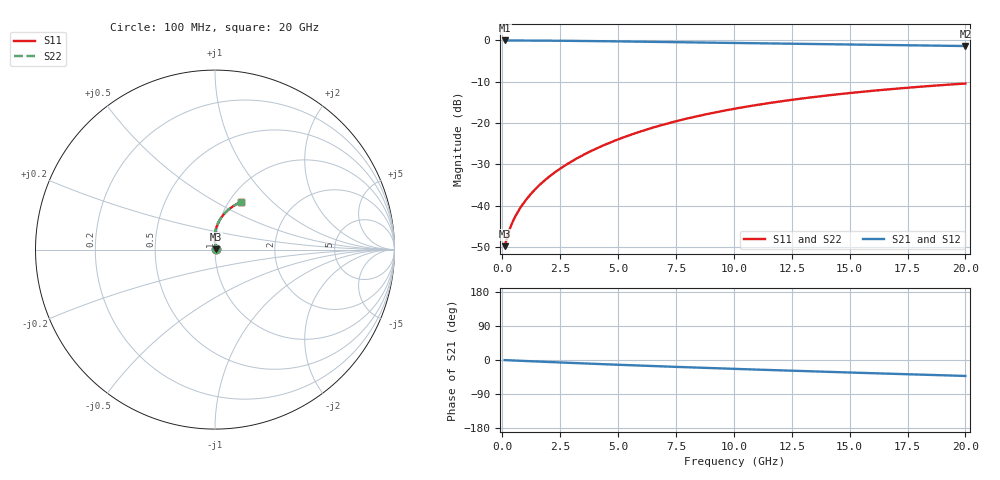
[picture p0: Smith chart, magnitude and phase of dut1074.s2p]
! Touchstone file exported from HFSS 2024.1.0
!  File:  C:/UserFiles/LocalFiles/RDL_TSV_Batchsim/temp_RDL_top_1074_1780045344.aedt
!  Generated:  05:04:22 PM May 29, 2026
!  Design:  RDL_top
!  Project:  temp_RDL_top_1074_1780045344
!  Setup:  Setup1
!  Solution:  Sweep
! Variables:
!  dtsv = 10.80580581um
!  hbump = 3um
!  htsv = 94.52um
!  ldown = 100um
!  lrdl = 627.6um
!  p = 40
!  p1 = 51.48um
!  rhole = 1um
!  t = 450um
!  tdown = 3.915915916um
!  trdl = 2.83um
!  wdown = 15.38538539um
!  wrdl = 29.98um
# GHz S MA R 50.000000
! Terminal data exported
! Port[1] = Box2_T1
! Port[2] = Box2_T2
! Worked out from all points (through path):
!   200 points, 100 MHz to 20 GHz, reference 50 ohm
!   highest |S21| = -0.03 dB at 100 MHz (marker M1); lowest = -1.4 dB at 20 GHz (marker M2)
!   group delay of S21, straight-line fit = 5.76 ps
!   lowest |S11| = -49.8 dB at 100 MHz (marker M3), VSWR 1.01, Z = 50.3 + j0.137 ohm
!   |S11| at or under -10 dB: start of sweep to end of sweep
!   |S22| runs from -49.8 to -10.4 dB; largest |S21 - S12| = 7.8e-15
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0.1  0.003236 24.9  0.997 -0.3  0.997 -0.3  0.003236 24.9
! Gamma 0 0 0 0
! Port Impedance 50 0 50 0
0.3  0.005008 48.7  0.9965 -0.8  0.9965 -0.8  0.005008 48.7
0.4  0.005935 54.4  0.9963 -1.1  0.9963 -1.1  0.005935 54.4
0.5  0.006846 58.8  0.996 -1.4  0.996 -1.4  0.006846 58.8
0.6  0.007754 62.4  0.9958 -1.6  0.9958 -1.6  0.007754 62.4
0.8  0.009602 68.1  0.9953 -2.1  0.9953 -2.1  0.009602 68.1
1  0.01152 72.5  0.9948 -2.7  0.9948 -2.7  0.01152 72.5
1.2  0.01351 75.9  0.9942 -3.2  0.9942 -3.2  0.01351 75.9
1.7  0.01878 81.8  0.9925 -4.5  0.9925 -4.5  0.01878 81.8
2.2  0.02446 85.6  0.9904 -5.7  0.9904 -5.7  0.02446 85.6
2.8  0.03181 88.5  0.9872 -7.3  0.9872 -7.3  0.03182 88.6
3.5  0.0411 90.5  0.9828 -9.0  0.9828 -9.0  0.04112 90.5
4.2  0.05111 91.4  0.9779 -10.7  0.9779 -10.7  0.05114 91.5
5  0.06332 91.6  0.9717 -12.6  0.9717 -12.6  0.06336 91.6
5.9  0.07783 91.0  0.9644 -14.6  0.9644 -14.6  0.07789 91.0
6.8  0.09292 89.8  0.9569 -16.6  0.9569 -16.6  0.093 89.8
8.4  0.1205 86.9  0.9433 -20.0  0.9433 -20.0  0.1206 86.9
10.1  0.15 83.2  0.9292 -23.5  0.9292 -23.5  0.1502 83.2
11.7  0.1773 79.5  0.9162 -26.7  0.9162 -26.7  0.1775 79.5
13.4  0.2052 75.6  0.9028 -30.0  0.9028 -30.0  0.2055 75.6
16.7  0.2557 68.2  0.8777 -36.2  0.8777 -36.2  0.256 68.3
20  0.3006 61.4  0.8538 -42.1  0.8538 -42.1  0.3009 61.5
